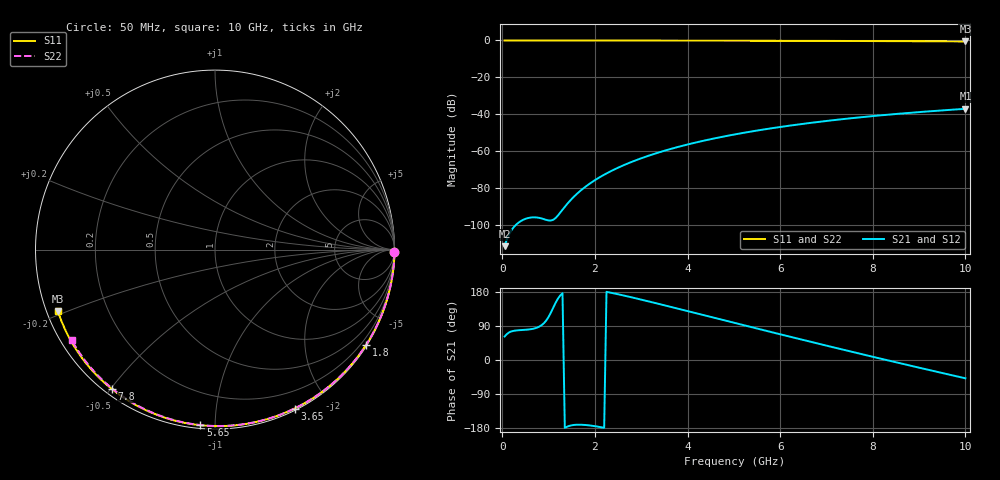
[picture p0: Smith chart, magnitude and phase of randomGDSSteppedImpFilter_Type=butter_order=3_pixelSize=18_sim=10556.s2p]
! freq	dB(S11)	phase(S11)	dB(S12)	phase(S12)
!  dB(S21)	phase(S21)	dB(S22)	phase(S22)
!S-par simulation data
#  GHz  S  DB  R 50
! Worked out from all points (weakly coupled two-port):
!   200 points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, 50 MHz to 10 GHz, reference 50 ohm
!   highest |S21| = -37.01 dB at 10 GHz (marker M1); lowest = -111.4 dB at 50 MHz (marker M2)
!   lowest |S11| = -0.5 dB at 10 GHz (marker M3), VSWR 32.46, Z = 1.6 - j9.47 ohm
!   |S11| at or under -10 dB: nowhere
!   |S22| runs from -0.5 to 0.0 dB; largest |S21 - S12| = 0
!   S11 on the Smith chart (normalised r, x): 50 MHz: open; 1.8 GHz: 0.03, -3.48; 3.65 GHz: 0.02, -1.62; 5.65 GHz: 0.02, -0.92; 7.8 GHz: 0.02, -0.51; 10 GHz: 0.03, -0.19
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0.05  -0.00 -0.9  -111.36 61.9  -111.36 61.9  -0.00 -0.9
0.45  -0.01 -8.2  -97.10 79.3  -97.10 79.3  -0.01 -7.7
0.9  -0.02 -16.2  -96.75 97.3  -96.75 97.3  -0.02 -15.3
1.75  -0.04 -31.2  -80.07 -171.1  -80.07 -171.1  -0.04 -29.5
1.8  -0.04 -32.1  -79.10 -171.5  -79.10 -171.5  -0.04 -30.3
1.95  -0.04 -34.7  -76.44 -173.7  -76.44 -173.7  -0.04 -32.8
2.1  -0.05 -37.3  -74.09 -176.7  -74.09 -176.7  -0.05 -35.3
2.3  -0.05 -40.8  -71.33 178.7  -71.33 178.7  -0.05 -38.5
2.5  -0.06 -44.2  -68.88 173.5  -68.88 173.5  -0.05 -41.8
2.9  -0.07 -51.0  -64.71 162.3  -64.71 162.3  -0.06 -48.2
3.4  -0.08 -59.3  -60.46 147.4  -60.46 147.4  -0.07 -56.0
3.65  -0.09 -63.4  -58.63 139.8  -58.63 139.8  -0.08 -59.9
4.3  -0.10 -73.9  -54.54 119.8  -54.54 119.8  -0.10 -69.8
5.05  -0.13 -85.6  -50.72 96.8  -50.72 96.8  -0.12 -80.9
5.65  -0.16 -94.8  -48.17 78.5  -48.17 78.5  -0.15 -89.5
6.15  -0.18 -102.3  -46.31 63.3  -46.31 63.3  -0.17 -96.5
6.7  -0.22 -110.4  -44.48 46.8  -44.48 46.8  -0.20 -104.0
7.25  -0.25 -118.4  -42.86 30.5  -42.86 30.5  -0.24 -111.5
7.8  -0.30 -126.3  -41.42 14.3  -41.42 14.3  -0.28 -118.8
8.35  -0.35 -134.3  -40.13 -1.7  -40.13 -1.7  -0.32 -126.0
9.2  -0.44 -146.6  -38.40 -25.9  -38.40 -25.9  -0.41 -137.1
10  -0.54 -158.5  -37.01 -48.3  -37.01 -48.3  -0.50 -147.6
